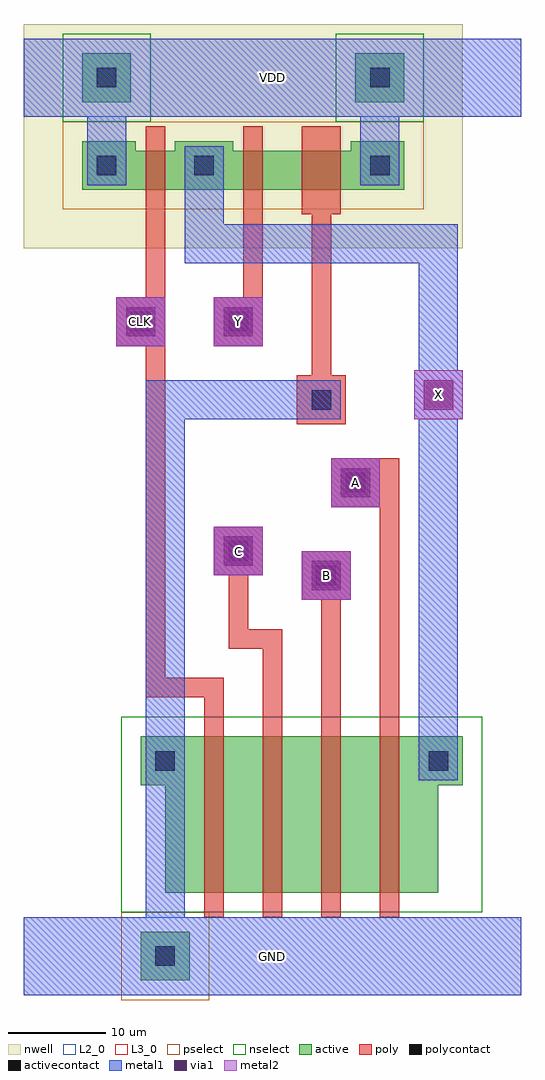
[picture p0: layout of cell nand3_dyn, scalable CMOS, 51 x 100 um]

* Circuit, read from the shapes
.subckt nand3_dyn A B C CLK GND VDD X Y
M1 n1 CLK GND GND nfet w=16u l=2u
M2 n2 C n1 GND nfet w=16u l=2u
M3 n3 B n2 GND nfet w=16u l=2u
M4 X A n3 GND nfet w=16u l=2u
M5 X CLK VDD VDD pfet w=4u l=2u
M6 n4 Y X VDD pfet w=4u l=2u
M7 VDD GND n4 VDD pfet w=4u l=4u
.ends

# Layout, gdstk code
import gdstk
lib = gdstk.Library(unit=1e-6, precision=1e-09)
def R(c, l, rs):  # rectangles x0, y0, x1, y1
    for r in rs: c.add(gdstk.rectangle(r[:2], r[2:], *l))
def A(c, l, x, y, w, h, nx, ny, dx, dy):  # array of equal rectangles
    R(c, l, [(x+i*dx, y+j*dy, x+i*dx+w, y+j*dy+h) for i in range(nx) for j in range(ny)])
def P(c, l, *ps):  # polygons
    for p in ps: c.add(gdstk.Polygon(p, *l))
L2_0 = (2, 0)
L3_0 = (3, 0)
nwell = (42, 0)
active = (43, 0)
pselect = (44, 0)
nselect = (45, 0)
poly = (46, 0)
polycontact = (47, 0)
activecontact = (48, 0)
metal1 = (49, 0)
via1 = (50, 0)
metal2 = (51, 0)

nand3_dyn = lib.new_cell('nand3_dyn')
R(nand3_dyn, L2_0, [(0,-99.5,51,-91.5), (0,-9.5,51,-1.5)])
R(nand3_dyn, L3_0, [(28.5,-59,33.5,-54), (19.5,-56.5,24.5,-51.5), (31.5,-49.5,36.5,-44.5), (40,-40.5,45,-35.5), (9.5,-33,14.5,-28), (19.5,-33,24.5,-28)])
R(nand3_dyn, nwell, [(0,-23,45,0)])
R(nand3_dyn, active, [(12,-98,17,-93), (6,-8,11,-3), (34,-8,39,-3)])
P(nand3_dyn, active, [(6,-17),(39,-17),(39,-12),(33.5,-12),(33.5,-13),(21.5,-13),(21.5,-12),(15.5,-12),(15.5,-13),(11.5,-13),(11.5,-12),(6,-12)],
  [(12,-78),(14.5,-78),(14.5,-89),(42.5,-89),(42.5,-78),(45,-78),(45,-73),(12,-73)])
R(nand3_dyn, pselect, [(10,-100,19,-91), (4,-19,41,-10)])
R(nand3_dyn, nselect, [(10,-91,47,-71), (4,-10,13,-1), (32,-10,41,-1)])
A(nand3_dyn, poly, 18.5, -91.5, 2, 21, 4, 1, 6, 0)
R(nand3_dyn, poly, [(28.5,-59,33.5,-54), (19.5,-56.5,24.5,-51.5), (31.5,-49.5,36.5,-44.5), (28,-41,33,-36), (9.5,-33,14.5,-28), (19.5,-33,24.5,-28), (12.5,-19.5,14.5,-10.5), (22.5,-19.5,24.5,-10.5), (28.5,-19.5,32.5,-10.5)])
R(nand3_dyn, polycontact, [(30,-57.5,32,-55.5), (21,-55,23,-53), (33,-48,35,-46), (29.5,-39.5,31.5,-37.5), (11,-31.5,13,-29.5), (21,-31.5,23,-29.5)])
R(nand3_dyn, activecontact, [(13.5,-96.5,15.5,-94.5), (13.5,-76.5,15.5,-74.5), (41.5,-76.5,43.5,-74.5), (7.5,-15.5,9.5,-13.5), (17.5,-15.5,19.5,-13.5), (35.5,-15.5,37.5,-13.5), (7.5,-6.5,9.5,-4.5), (35.5,-6.5,37.5,-4.5)])
R(nand3_dyn, metal1, [(0,-99.5,51,-91.5), (12.5,-97.5,16.5,-93.5), (12.5,-77.5,16.5,-73.5), (40.5,-77.5,44.5,-73.5), (28.5,-59,33.5,-54), (19.5,-56.5,24.5,-51.5), (31.5,-49.5,36.5,-44.5), (28.5,-40.5,32.5,-36.5), (40,-40.5,45,-35.5), (9.5,-33,14.5,-28), (19.5,-33,24.5,-28), (16.5,-24.5,44.5,-20.5), (6.5,-16.5,10.5,-12.5), (16.5,-16.5,20.5,-12.5), (34.5,-16.5,38.5,-12.5), (0,-9.5,51,-1.5), (6.5,-7.5,10.5,-3.5), (34.5,-7.5,38.5,-3.5)])
R(nand3_dyn, via1, [(29.5,-58,32.5,-55), (20.5,-55.5,23.5,-52.5), (32.5,-48.5,35.5,-45.5), (41,-39.5,44,-36.5), (10.5,-32,13.5,-29), (20.5,-32,23.5,-29)])
R(nand3_dyn, metal2, [(28.5,-59,33.5,-54), (19.5,-56.5,24.5,-51.5), (31.5,-49.5,36.5,-44.5), (40,-40.5,45,-35.5), (9.5,-33,14.5,-28), (19.5,-33,24.5,-28)])
nand3_dyn.add(gdstk.FlexPath([(30.5,-19.5),(30.5,-36)], 2, ends="flush", simple_path=True, layer=46, datatype=0))  # poly
nand3_dyn.add(gdstk.FlexPath([(19.5,-70.5),(19.5,-68),(13.5,-68),(13.5,-33)], 2, ends="flush", simple_path=True, layer=46, datatype=0))  # poly
nand3_dyn.add(gdstk.FlexPath([(31.5,-70.5),(31.5,-59)], 2, ends="flush", simple_path=True, layer=46, datatype=0))  # poly
nand3_dyn.add(gdstk.FlexPath([(13.5,-19.5),(13.5,-28)], 2, ends="flush", simple_path=True, layer=46, datatype=0))  # poly
nand3_dyn.add(gdstk.FlexPath([(25.5,-70.5),(25.5,-63),(22,-63),(22,-56.5)], 2, ends="flush", simple_path=True, layer=46, datatype=0))  # poly
nand3_dyn.add(gdstk.FlexPath([(23.5,-19.5),(23.5,-28)], 2, ends="flush", simple_path=True, layer=46, datatype=0))  # poly
nand3_dyn.add(gdstk.FlexPath([(37.5,-70.5),(37.5,-44.5)], 2, ends="flush", simple_path=True, layer=46, datatype=0))  # poly
nand3_dyn.add(gdstk.FlexPath([(18.5,-16.5),(18.5,-20.5)], 4, ends="flush", simple_path=True, layer=49, datatype=0))  # metal1
nand3_dyn.add(gdstk.FlexPath([(36.5,-12.5),(36.5,-7.5)], 4, ends="flush", simple_path=True, layer=49, datatype=0))  # metal1
nand3_dyn.add(gdstk.FlexPath([(28.5,-38.5),(14.5,-38.5),(14.5,-40.5)], 4, ends="flush", simple_path=True, layer=49, datatype=0))  # metal1
nand3_dyn.add(gdstk.FlexPath([(14.5,-73.5),(14.5,-40.5)], 4, ends="flush", simple_path=True, layer=49, datatype=0))  # metal1
nand3_dyn.add(gdstk.FlexPath([(42.5,-73.5),(42.5,-40.5)], 4, ends="flush", simple_path=True, layer=49, datatype=0))  # metal1
nand3_dyn.add(gdstk.FlexPath([(8.5,-12.5),(8.5,-7.5)], 4, ends="flush", simple_path=True, layer=49, datatype=0))  # metal1
nand3_dyn.add(gdstk.FlexPath([(42.5,-35.5),(42.5,-24.5)], 4, ends="flush", simple_path=True, layer=49, datatype=0))  # metal1
nand3_dyn.add(gdstk.FlexPath([(14.5,-93.5),(14.5,-77.5)], 4, ends="flush", simple_path=True, layer=49, datatype=0))  # metal1
nand3_dyn.add(gdstk.Label('VDD', (25.5,-5.5), layer=2, texttype=0))
nand3_dyn.add(gdstk.Label('GND', (25.5,-95.5), layer=2, texttype=0))
nand3_dyn.add(gdstk.Label('X', (42.5,-38), layer=3, texttype=0))
nand3_dyn.add(gdstk.Label('B', (31,-56.5), layer=3, texttype=0))
nand3_dyn.add(gdstk.Label('C', (22,-54), layer=3, texttype=0))
nand3_dyn.add(gdstk.Label('Y', (22,-30.5), layer=3, texttype=0))
nand3_dyn.add(gdstk.Label('CLK', (12,-30.5), layer=3, texttype=0))
nand3_dyn.add(gdstk.Label('A', (34,-47), layer=3, texttype=0))

lib.write_gds('nand3_dyn.gds')
